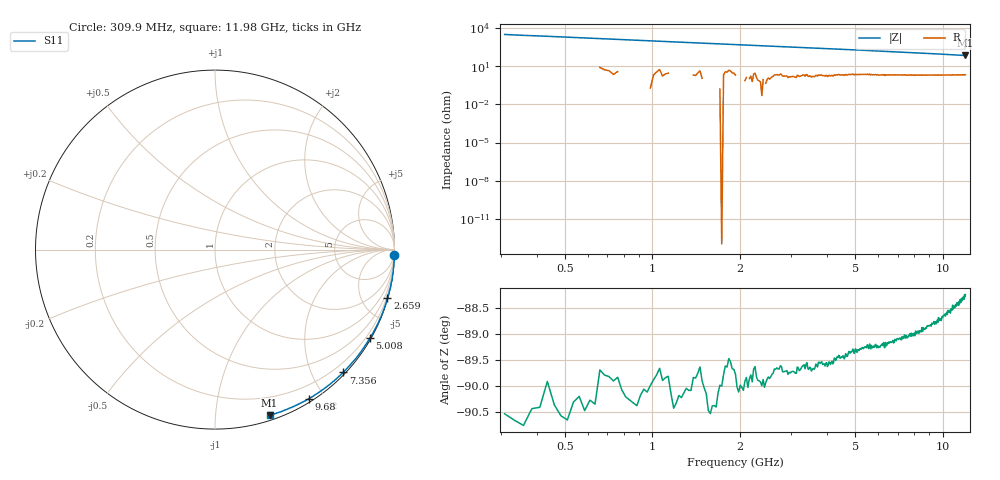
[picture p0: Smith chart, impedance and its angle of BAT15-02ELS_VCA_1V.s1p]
! Infineon Technologies  Discrete & RF Semiconductors
! BAT15-02ELS
! VCA = 1 V
! One-Port S-Parameters
# Hz  S  MA  R  50
!f  S11
!Hz  Mag  Ang
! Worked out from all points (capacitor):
!   468 points, 309.9 MHz to 11.98 GHz, reference 50 ohm
!   read as one part to ground: C = 165 fF near 359.8 MHz
!   lowest |Z| = 69.1 ohm at 11.98 GHz (marker M1)
!   S11 on the Smith chart (normalised r, x): 309.9 MHz: -1, -62; 2.659 GHz: 0.04, -7.22; 5.008 GHz: 0.05, -3.77; 7.356 GHz: 0.04, -2.49; 9.68 GHz: 0.04, -1.81; 11.98 GHz: 0.04, -1.38
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3.0985e8  1 -1.8
4.347875e8  0.9999 -2.6
1.2094e9  1.001 -7.1
1.50925e9  1 -8.8
1.6092e9  1.001 -9.5
1.784112e9  0.9988 -10.6
1.90905e9  0.9989 -11.2
2.009e9  0.9999 -11.9
2.658675e9  0.9985 -15.8
3.233388e9  0.9982 -19.2
3.983012e9  0.9969 -23.6
4.70765e9  0.9953 -27.9
5.0075e9  0.9938 -29.7
5.682162e9  0.9925 -33.7
6.156925e9  0.9919 -36.6
6.831588e9  0.99 -40.6
7.356325e9  0.9888 -43.8
7.6062e9  0.9883 -45.2
7.981012e9  0.987 -47.5
8.180912e9  0.9866 -48.8
8.380812e9  0.986 -50.0
8.580712e9  0.9849 -51.2
9.080462e9  0.9835 -54.2
9.680162e9  0.9807 -57.8
1.052974e10  0.9778 -62.9
1.132934e10  0.9746 -67.8
1.192904e10  0.9721 -71.5
1.197901e10  0.9713 -71.7
